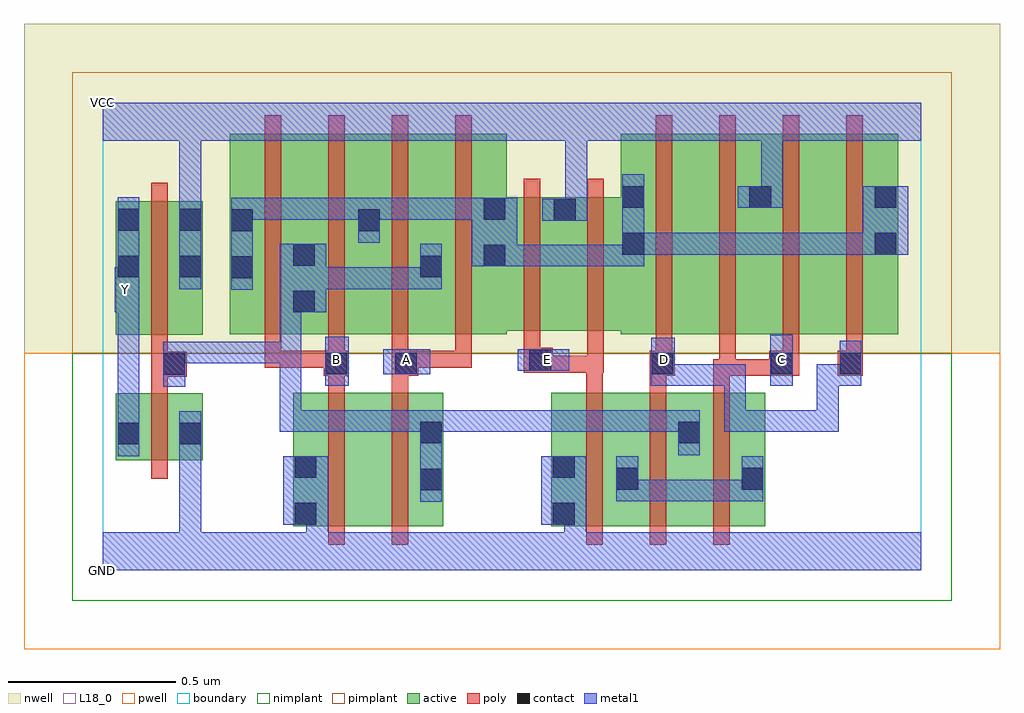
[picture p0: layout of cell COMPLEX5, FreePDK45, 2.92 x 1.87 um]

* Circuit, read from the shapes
.subckt COMPLEX5 A B C D E GND VCC Y
M1 GND n1 Y VSUBS nfet w=0.2u l=0.05u
M2 n2 B GND VSUBS nfet w=0.4u l=0.05u
M3 n1 A n2 VSUBS nfet w=0.4u l=0.05u
M4 n3 E GND VSUBS nfet w=0.4u l=0.05u
M5 n1 D n3 VSUBS nfet w=0.4u l=0.05u
M6 n3 C n1 VSUBS nfet w=0.4u l=0.05u
M7 VCC n1 Y n4 pfet w=0.4u l=0.05u
M8 n1 B n5 n4 pfet w=0.6u l=0.05u m=2
M9 n1 A n5 n4 pfet w=0.6u l=0.05u m=2
M10 VCC E n5 n4 pfet w=0.4u l=0.05u m=2
M11 n6 D n5 n4 pfet w=0.6u l=0.05u
M12 VCC C n6 n4 pfet w=0.6u l=0.05u
M13 n7 C VCC n4 pfet w=0.6u l=0.05u
M14 n5 D n7 n4 pfet w=0.6u l=0.05u
.ends

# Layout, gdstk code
import gdstk
lib = gdstk.Library(unit=1e-6, precision=1e-09)
def R(c, l, rs):  # rectangles x0, y0, x1, y1
    for r in rs: c.add(gdstk.rectangle(r[:2], r[2:], *l))
def A(c, l, x, y, w, h, nx, ny, dx, dy):  # array of equal rectangles
    R(c, l, [(x+i*dx, y+j*dy, x+i*dx+w, y+j*dy+h) for i in range(nx) for j in range(ny)])
active = (1, 0)
pwell = (2, 0)
nwell = (3, 0)
nimplant = (4, 0)
pimplant = (5, 0)
poly = (9, 0)
contact = (10, 0)
metal1 = (11, 0)
L18_0 = (18, 0)
boundary = (235, 0)

complex5 = lib.new_cell('COMPLEX5')
R(complex5, active, [(0.57,0.132,0.645,0.532), (0.57,0.132,0.795,0.532), (0.795,0.132,1.02,0.532), (1.342,0.132,1.607,0.532), (1.342,0.132,1.417,0.532), (1.532,0.132,1.792,0.532), (1.717,0.132,1.982,0.532), (0.945,0.195,1.02,0.532), (1.532,0.195,1.607,0.492), (1.717,0.195,1.792,0.492), (1.907,0.195,1.982,0.532), (0.04,0.33,0.115,0.53), (0.04,0.33,0.3,0.53), (0.225,0.33,0.3,0.53), (0.04,0.705,0.3,1.105), (0.04,0.705,0.115,1.105), (0.225,0.705,0.3,1.105), (0.38,0.707,0.455,1.2), (0.38,0.707,0.64,1.307), (0.565,0.707,0.64,1.07), (0.565,0.707,0.835,1.307), (0.76,0.707,0.835,1.2), (0.76,0.707,1.02,1.307), (0.945,0.707,1.21,1.307), (0.945,0.707,1.02,1.07), (1.55,0.707,1.775,1.307), (1.775,0.707,2.005,1.307), (1.93,0.707,2.155,1.307), (1.93,0.707,2.005,1.305), (2.155,0.707,2.38,1.307), (2.305,0.707,2.38,1.2), (1.135,0.717,1.42,1.117), (1.135,0.717,1.21,1.2), (1.345,0.717,1.625,1.117), (1.345,0.907,1.42,1.117), (1.55,0.907,1.625,1.2)])
R(complex5, pwell, [(-0.235,-0.235,2.685,0.65)])
R(complex5, nwell, [(-0.235,0.65,2.685,1.635)])
R(complex5, nimplant, [(-0.09,-0.09,2.54,0.65)])
R(complex5, pimplant, [(-0.09,0.65,2.54,1.49)])
A(complex5, poly, 1.447, 0.077, 0.05, 0.51, 3, 1, 0.19, 0)
A(complex5, poly, 0.485, 0.607, 0.05, 0.095, 4, 1, 0.19, 0)
A(complex5, poly, 0.485, 0.652, 0.05, 0.71, 4, 1, 0.19, 0)
A(complex5, poly, 1.655, 0.652, 0.05, 0.71, 4, 1, 0.19, 0)
R(complex5, poly, [(0.675,0.077,0.725,0.587), (0.865,0.077,0.915,0.587), (0.145,0.275,0.195,0.585), (0.145,0.535,0.195,0.63), (0.675,0.537,0.725,0.632), (0.865,0.537,0.915,0.632), (1.447,0.537,1.497,0.642), (1.637,0.537,1.687,0.632), (1.827,0.537,1.877,0.632), (0.145,0.58,0.252,0.655), (0.662,0.582,0.737,0.657), (0.865,0.582,0.945,0.657), (1.637,0.582,1.712,0.657), (1.827,0.582,1.895,0.632), (1.845,0.582,2.045,0.632), (1.845,0.582,1.895,0.702), (1.995,0.582,2.045,0.632), (1.995,0.582,2.045,0.632), (1.995,0.582,2.085,0.657), (2.2,0.582,2.275,0.657), (1.26,0.592,1.347,0.667), (1.297,0.592,1.347,0.642), (1.297,0.592,1.347,0.642), (1.297,0.592,1.497,0.642), (1.447,0.592,1.5,0.642), (1.45,0.592,1.5,0.712), (0.145,0.605,0.195,0.7), (0.485,0.607,0.535,0.657), (0.485,0.607,0.535,0.657), (0.485,0.607,0.535,0.657), (0.485,0.607,0.712,0.657), (0.895,0.607,0.945,0.657), (0.895,0.607,0.945,0.657), (0.895,0.607,1.105,0.657), (1.055,0.607,1.105,0.657), (1.655,0.607,1.705,0.702), (2.035,0.607,2.085,0.702), (2.225,0.607,2.275,0.702), (1.26,0.617,1.31,0.712), (0.145,0.65,0.195,1.16), (1.26,0.662,1.31,1.172), (1.45,0.662,1.5,1.172)])
R(complex5, contact, [(0.575,0.137,0.64,0.202), (1.347,0.137,1.412,0.202), (0.95,0.24,1.015,0.305), (1.537,0.242,1.602,0.307), (1.912,0.242,1.977,0.307), (0.575,0.277,0.64,0.342), (1.347,0.277,1.412,0.342), (0.045,0.377,0.11,0.442), (0.23,0.377,0.295,0.442), (0.95,0.38,1.015,0.445), (1.722,0.38,1.787,0.445), (0.182,0.585,0.247,0.65), (0.667,0.587,0.732,0.652), (0.875,0.587,0.94,0.652), (1.642,0.587,1.707,0.652), (2,0.587,2.065,0.652), (2.205,0.587,2.27,0.652), (1.277,0.597,1.342,0.662), (0.57,0.772,0.635,0.837), (0.385,0.875,0.45,0.94), (0.045,0.877,0.11,0.942), (0.23,0.877,0.295,0.942), (0.95,0.877,1.015,0.942), (1.14,0.91,1.205,0.975), (0.57,0.912,0.635,0.977), (1.555,0.945,1.62,1.01), (2.31,0.945,2.375,1.01), (0.385,1.015,0.45,1.08), (0.765,1.015,0.83,1.08), (0.045,1.017,0.11,1.082), (0.23,1.017,0.295,1.082), (1.35,1.047,1.415,1.112), (1.14,1.05,1.205,1.115), (1.555,1.085,1.62,1.15), (1.935,1.085,2,1.15), (2.31,1.085,2.375,1.15)])
R(complex5, metal1, [(0,0,2.45,0.115), (0.23,0.05,0.295,0.115), (0.23,0.05,0.295,0.115), (0.23,0.05,0.295,0.115), (0.23,0.05,0.295,0.115), (0.23,0.05,0.295,0.407), (0.61,0.05,0.675,0.202), (1.382,0.05,1.447,0.202), (0.54,0.137,0.675,0.342), (1.312,0.137,1.447,0.342), (0.95,0.205,1.015,0.48), (1.537,0.207,1.602,0.342), (1.537,0.207,1.757,0.272), (1.692,0.207,1.757,0.272), (1.692,0.207,1.757,0.272), (1.692,0.207,1.757,0.272), (1.692,0.207,1.925,0.272), (1.86,0.207,1.925,0.272), (1.86,0.207,1.977,0.272), (1.912,0.207,1.977,0.342), (0.045,0.342,0.11,0.477), (0.23,0.342,0.295,0.477), (1.722,0.345,1.787,0.48), (0.045,0.412,0.11,0.837), (0.53,0.415,0.595,0.48), (0.53,0.415,0.595,0.48), (0.53,0.415,0.595,0.48), (0.53,0.415,0.83,0.48), (0.53,0.415,0.595,0.685), (0.765,0.415,0.83,0.48), (0.765,0.415,1.015,0.48), (0.95,0.415,1.015,0.48), (0.95,0.415,1.015,0.48), (0.95,0.415,1.152,0.48), (1.087,0.415,1.152,0.48), (1.087,0.415,1.152,0.48), (1.087,0.415,1.152,0.48), (1.087,0.415,1.307,0.48), (1.242,0.415,1.307,0.48), (1.242,0.415,1.465,0.48), (1.4,0.415,1.465,0.48), (1.4,0.415,1.465,0.48), (1.4,0.415,1.465,0.48), (1.4,0.415,1.602,0.48), (1.537,0.415,1.602,0.48), (1.537,0.415,1.787,0.48), (1.722,0.415,1.787,0.48), (1.722,0.415,1.787,0.48), (1.86,0.415,1.925,0.48), (1.86,0.415,1.925,0.617), (1.86,0.415,2.062,0.48), (1.997,0.415,2.062,0.48), (1.997,0.415,2.202,0.48), (2.137,0.415,2.202,0.48), (2.137,0.415,2.202,0.617), (0.182,0.55,0.247,0.685), (0.667,0.552,0.737,0.7), (1.642,0.552,1.712,0.697), (1.647,0.552,1.757,0.617), (1.692,0.552,1.757,0.617), (1.692,0.552,1.925,0.617), (1.86,0.552,1.925,0.617), (1.86,0.552,1.925,0.617), (1.86,0.552,1.925,0.617), (1.997,0.552,2.065,0.705), (2.137,0.552,2.202,0.617), (2.137,0.552,2.27,0.617), (2.205,0.552,2.27,0.687), (0.84,0.587,0.98,0.662), (1.242,0.597,1.397,0.662), (0.182,0.62,0.247,0.685), (0.182,0.62,0.247,0.685), (0.182,0.62,0.457,0.685), (0.392,0.62,0.457,0.685), (0.392,0.62,0.457,0.685), (0.392,0.62,0.457,0.685), (0.392,0.62,0.595,0.685), (0.53,0.62,0.595,0.685), (0.53,0.62,0.595,0.837), (0.037,0.772,0.11,0.907), (0.53,0.772,0.67,0.977), (0.385,0.84,0.45,1.115), (0.045,0.842,0.11,0.907), (0.045,0.842,0.11,1.117), (0.23,0.842,0.295,1.117), (0.605,0.842,0.67,0.907), (0.605,0.842,0.67,0.907), (0.605,0.842,0.83,0.907), (0.765,0.842,0.83,0.907), (0.765,0.842,0.83,0.907), (0.765,0.842,0.83,0.907), (0.765,0.842,1.015,0.907), (0.95,0.842,1.015,0.977), (1.105,0.91,1.24,1.115), (1.175,0.91,1.24,0.975), (1.175,0.91,1.24,0.975), (1.175,0.91,1.307,0.975), (1.242,0.91,1.307,0.975), (1.242,0.91,1.465,0.975), (1.4,0.91,1.465,0.975), (1.4,0.91,1.465,0.975), (1.4,0.91,1.465,0.975), (1.4,0.91,1.62,0.975), (1.555,0.91,1.62,1.185), (1.555,0.945,1.757,1.01), (1.692,0.945,1.757,1.01), (1.692,0.945,1.757,1.01), (1.692,0.945,1.757,1.01), (1.692,0.945,1.925,1.01), (1.86,0.945,1.925,1.01), (1.86,0.945,1.925,1.01), (1.86,0.945,1.925,1.01), (1.86,0.945,2.132,1.01), (2.067,0.945,2.132,1.01), (2.067,0.945,2.132,1.01), (2.067,0.945,2.132,1.01), (2.067,0.945,2.34,1.01), (2.275,0.945,2.34,1.01), (2.275,0.945,2.34,1.01), (2.275,0.945,2.41,1.15), (0.765,0.98,0.83,1.115), (1.315,1.047,1.45,1.112), (1.385,1.047,1.45,1.112), (1.385,1.047,1.45,1.112), (1.385,1.047,1.45,1.35), (0.385,1.05,0.45,1.115), (0.385,1.05,0.45,1.115), (0.385,1.05,0.692,1.115), (0.627,1.05,0.692,1.115), (0.627,1.05,0.692,1.115), (0.627,1.05,0.692,1.115), (0.627,1.05,0.83,1.115), (0.765,1.05,0.83,1.115), (0.765,1.05,0.83,1.115), (0.765,1.05,0.967,1.115), (0.902,1.05,0.967,1.115), (0.902,1.05,1.17,1.115), (1.105,1.05,1.17,1.115), (1.105,1.05,1.17,1.115), (0.23,1.052,0.295,1.35), (1.9,1.085,2.035,1.15), (1.97,1.085,2.035,1.35), (0,1.285,2.45,1.4), (0.23,1.285,0.295,1.35), (0.23,1.285,0.295,1.35)])
A(complex5, L18_0, 1.297, 0.597, 0.065, 0.065, 3, 1, 0.35, 0)
R(complex5, L18_0, [(0,0,2.45,0.115), (0.23,0.05,0.295,0.115), (0.23,0.05,0.295,0.115), (0.23,0.05,0.295,0.115), (0.23,0.05,0.295,0.115), (0.23,0.05,0.295,0.407), (0.61,0.05,0.675,0.202), (1.382,0.05,1.447,0.202), (0.54,0.137,0.675,0.342), (1.312,0.137,1.447,0.342), (0.045,0.342,0.11,0.477), (0.23,0.342,0.295,0.477), (0.045,0.412,0.11,0.837), (1.86,0.415,1.925,0.48), (1.86,0.415,1.925,0.617), (1.86,0.415,2.062,0.48), (1.997,0.415,2.062,0.48), (1.997,0.415,2.202,0.48), (2.137,0.415,2.202,0.48), (2.137,0.415,2.202,0.617), (0.667,0.552,0.737,0.7), (1.642,0.552,1.712,0.697), (1.647,0.552,1.757,0.617), (1.692,0.552,1.757,0.617), (1.692,0.552,1.925,0.617), (1.86,0.552,1.925,0.617), (1.86,0.552,1.925,0.617), (1.86,0.552,1.925,0.617), (1.997,0.552,2.065,0.705), (2.137,0.552,2.202,0.617), (2.137,0.552,2.27,0.617), (2.205,0.552,2.27,0.687), (0.84,0.587,0.98,0.662), (0.667,0.597,0.732,0.662), (0.877,0.597,0.942,0.662), (1.242,0.597,1.397,0.662), (0.037,0.772,0.11,0.907), (0.037,0.807,0.102,0.872), (0.045,0.842,0.11,1.117), (0.045,0.842,0.11,0.907), (0.23,0.842,0.295,1.117), (1.315,1.047,1.45,1.112), (1.385,1.047,1.45,1.112), (1.385,1.047,1.45,1.112), (1.385,1.047,1.45,1.35), (0.23,1.052,0.295,1.35), (1.9,1.085,2.035,1.15), (1.97,1.085,2.035,1.35), (0,1.285,2.45,1.4), (0.23,1.285,0.295,1.35), (0.23,1.285,0.295,1.35)])
R(complex5, boundary, [(0,0,2.45,1.4)])
complex5.add(gdstk.Label('A', (0.91,0.63), layer=11, texttype=0))
complex5.add(gdstk.Label('B', (0.7,0.63), layer=11, texttype=0))
complex5.add(gdstk.Label('C', (2.03,0.63), layer=11, texttype=0))
complex5.add(gdstk.Label('D', (1.68,0.63), layer=11, texttype=0))
complex5.add(gdstk.Label('E', (1.33,0.63), layer=11, texttype=0))
complex5.add(gdstk.Label('Y', (0.07,0.84), layer=11, texttype=0))
complex5.add(gdstk.Label('VCC', (0,1.4), layer=11, texttype=0))
complex5.add(gdstk.Label('GND', (0,0), layer=11, texttype=0))

lib.write_gds('COMPLEX5.gds')
